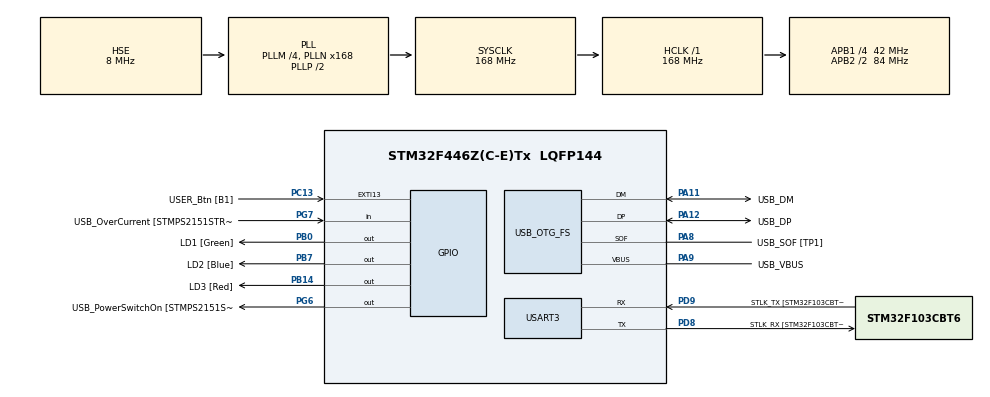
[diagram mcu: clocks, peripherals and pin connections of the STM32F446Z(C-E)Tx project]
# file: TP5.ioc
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FREERTOS.Events01=morseEvents,Dynamic,NULL
FREERTOS.Mutexes01=serialMut,Dynamic,NULL,Available;ledMut,Dynamic,NULL,Available
FREERTOS.Queues01=rxQueue,16,uint8_t,0,Dynamic,NULL,NULL;ledQueue,16,morseData,0,Dynamic,NULL,NULL;txQueue,16,uint32_t,0,Dynamic,NULL,NULL
FREERTOS.Tasks01=defaultTask,24,128,StartDefaultTask,Default,NULL,Dynamic,NULL,NULL;serialRXTask,8,128,serialRX,Default,NULL,Dynamic,NULL,NULL;asciiToMorseTas,8,128,asciiToMorse,Default,NULL,Dynamic,NULL,NULL;morseToLEDTask,8,128,morseToLED,Default,NULL,Dynamic,NULL,NULL;emptyRXTask,8,128,emptyRXsendTX,Default,NULL,Dynamic,NULL,NULL;serialTXTask,8,128,serialTX,Default,NULL,Dynamic,NULL,NULL
FREERTOS.configUSE_NEWLIB_REENTRANT=1
Mcu.Family=STM32F4
Mcu.Name=STM32F446Z(C-E)Tx
Mcu.Package=LQFP144
NVIC.OTG_FS_IRQn=true\:5\:0\:false\:false\:true\:true\:false\:true\:true
NVIC.PriorityGroup=NVIC_PRIORITYGROUP_4
NVIC.TIM1_UP_TIM10_IRQn=true\:15\:0\:false\:false\:true\:false\:false\:true\:true
NVIC.TimeBase=TIM1_UP_TIM10_IRQn
NVIC.TimeBaseIP=TIM1
PA10.GPIO_Label=USB_ID
PA10.Signal=USB_OTG_FS_ID
PA11.GPIO_Label=USB_DM
PA11.Mode=Device_Only
PA11.Signal=USB_OTG_FS_DM
PA12.GPIO_Label=USB_DP
PA12.Mode=Device_Only
PA12.Signal=USB_OTG_FS_DP
PA13.GPIO_Label=TMS
PA13.Mode=Serial_Wire
PA13.Signal=SYS_JTMS-SWDIO
PA14.GPIO_Label=TCK
PA14.Mode=Serial_Wire
PA14.Signal=SYS_JTCK-SWCLK
PA8.GPIO_Label=USB_SOF [TP1]
PA8.Mode=Activate_SOF_FS
PA8.Signal=USB_OTG_FS_SOF
PA9.GPIO_Label=USB_VBUS
PA9.Mode=Activate_VBUS
PA9.Signal=USB_OTG_FS_VBUS
PB0.GPIO_Label=LD1 [Green]
PB0.Signal=GPIO_Output
PB14.GPIO_Label=LD3 [Red]
PB14.Signal=GPIO_Output
PB7.GPIO_Label=LD2 [Blue]
PB7.Signal=GPIO_Output
PC13.GPIO_Label=USER_Btn [B1]
PC13.Signal=GPXTI13
PC14-OSC32_IN.Mode=LSE-External-Oscillator
PC14-OSC32_IN.Signal=RCC_OSC32_IN
PC15-OSC32_OUT.Mode=LSE-External-Oscillator
PC15-OSC32_OUT.Signal=RCC_OSC32_OUT
PD8.GPIO_Label=STLK_RX [STM32F103CBT6_PA3]
PD8.Mode=Asynchronous
PD8.Signal=USART3_TX
PD9.GPIO_Label=STLK_TX [STM32F103CBT6_PA2]
PD9.Mode=Asynchronous
PD9.Signal=USART3_RX
PG6.GPIO_Label=USB_PowerSwitchOn [STMPS2151STR_EN]
PG6.Signal=GPIO_Output
PG7.GPIO_Label=USB_OverCurrent [STMPS2151STR_FAULT]
PG7.Signal=GPIO_Input
PH0-OSC_IN.GPIO_Label=MCO [STM32F103CBT6_PA8]
PH0-OSC_IN.Mode=HSE-External-Clock-Source
PH0-OSC_IN.Signal=RCC_OSC_IN
PH1-OSC_OUT.Mode=HSE-External-Clock-Source
PH1-OSC_OUT.Signal=RCC_OSC_OUT
ProjectManager.HeapSize=0x200
ProjectManager.StackSize=0x400
ProjectManager.TargetToolchain=STM32CubeIDE
RCC.48MHZClocksFreq_Value=24000000
RCC.AHBFreq_Value=168000000
RCC.APB1CLKDivider=RCC_HCLK_DIV4
RCC.APB1Freq_Value=42000000
RCC.APB1TimFreq_Value=84000000
RCC.APB2CLKDivider=RCC_HCLK_DIV2
RCC.APB2Freq_Value=84000000
RCC.APB2TimFreq_Value=168000000
RCC.CortexFreq_Value=168000000
RCC.HCLKFreq_Value=168000000
RCC.HSE_VALUE=8000000
RCC.HSI_VALUE=16000000
RCC.PLLM=4
RCC.PLLMUL=RCC_PLL_MUL9
RCC.PLLN=168
RCC.PLLQ=7
RCC.PRESCALERUSB=RCC_USBCLKSOURCE_PLL_DIV1_5
RCC.SYSCLKFreq_VALUE=168000000
RCC.SYSCLKSource=RCC_SYSCLKSOURCE_PLLCLK
RCC.SYSCLKSourceVirtual=RCC_SYSCLKSOURCE_PLLCLK
RCC.USBFreq_Value=48000000
RCC.VCOOutputFreq_Value=336000000
USART3.VirtualMode=VM_ASYNC
USB_DEVICE.CLASS_NAME_FS=HID
USB_DEVICE.VirtualMode-HID_FS=Hid
USB_DEVICE.VirtualModeFS=Hid_FS
USB_OTG_FS.VirtualMode=Device_Only
VP_FREERTOS_VS_CMSIS_V2.Mode=CMSIS_V2
VP_SYS_VS_tim1.Mode=TIM1
VP_USB_DEVICE_VS_USB_DEVICE_HID_FS.Mode=HID_FS
board=NUCLEO-F446ZE

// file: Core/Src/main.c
/* USER CODE BEGIN Header */
/**
  ******************************************************************************
  * @file           : main.c
  * @brief          : Main program body
  ******************************************************************************
  * @attention
  *
  * Copyright (c) 2025 STMicroelectronics.
  * All rights reserved.
  *
  * This software is licensed under terms that can be found in the LICENSE file
  * in the root directory of this software component.
  * If no LICENSE file comes with this software, it is provided AS-IS.
  *
  ******************************************************************************
  */
/* USER CODE END Header */
#include "main.h"
#include "cmsis_os.h"
#include "usart.h"
#include "usb_device.h"
#include "gpio.h"

void SystemClock_Config(void);
void MX_FREERTOS_Init(void);

int main(void)
{

  /* MCU Configuration--------------------------------------------------------*/

  /* Reset of all peripherals, Initializes the Flash interface and the Systick. */
  HAL_Init();

  /* Configure the system clock */
  SystemClock_Config();

  /* Initialize all configured peripherals */
  MX_GPIO_Init();
  MX_USART3_UART_Init();

  /* Init scheduler */
  osKernelInitialize();

  /* Call init function for freertos objects (in cmsis_os2.c) */
  MX_FREERTOS_Init();

  /* Start scheduler */
  osKernelStart();

  /* We should never get here as control is now taken by the scheduler */

  /* Infinite loop */
  while (1)
  {

  }
}

void SystemClock_Config(void)
{
  RCC_OscInitTypeDef RCC_OscInitStruct = {0};
  RCC_ClkInitTypeDef RCC_ClkInitStruct = {0};

  /** Configure the main internal regulator output voltage
  */
  __HAL_RCC_PWR_CLK_ENABLE();
  __HAL_PWR_VOLTAGESCALING_CONFIG(PWR_REGULATOR_VOLTAGE_SCALE1);

  /** Initializes the RCC Oscillators according to the specified parameters
  * in the RCC_OscInitTypeDef structure.
  */
  RCC_OscInitStruct.OscillatorType = RCC_OSCILLATORTYPE_HSE;
  RCC_OscInitStruct.HSEState = RCC_HSE_BYPASS;
  RCC_OscInitStruct.PLL.PLLState = RCC_PLL_ON;
  RCC_OscInitStruct.PLL.PLLSource = RCC_PLLSOURCE_HSE;
  RCC_OscInitStruct.PLL.PLLM = 4;
  RCC_OscInitStruct.PLL.PLLN = 168;
  RCC_OscInitStruct.PLL.PLLP = RCC_PLLP_DIV2;
  RCC_OscInitStruct.PLL.PLLQ = 7;
  RCC_OscInitStruct.PLL.PLLR = 2;
  if (HAL_RCC_OscConfig(&RCC_OscInitStruct) != HAL_OK)
  {
    Error_Handler();
  }

  /** Initializes the CPU, AHB and APB buses clocks
  */
  RCC_ClkInitStruct.ClockType = RCC_CLOCKTYPE_HCLK|RCC_CLOCKTYPE_SYSCLK
                              |RCC_CLOCKTYPE_PCLK1|RCC_CLOCKTYPE_PCLK2;
  RCC_ClkInitStruct.SYSCLKSource = RCC_SYSCLKSOURCE_PLLCLK;
  RCC_ClkInitStruct.AHBCLKDivider = RCC_SYSCLK_DIV1;
  RCC_ClkInitStruct.APB1CLKDivider = RCC_HCLK_DIV4;
  RCC_ClkInitStruct.APB2CLKDivider = RCC_HCLK_DIV2;

  if (HAL_RCC_ClockConfig(&RCC_ClkInitStruct, FLASH_LATENCY_5) != HAL_OK)
  {
    Error_Handler();
  }
}

void HAL_TIM_PeriodElapsedCallback(TIM_HandleTypeDef *htim)
{
  if (htim->Instance == TIM1) {
    HAL_IncTick();
  }
}

void Error_Handler(void)
{
  __disable_irq();
  while (1)
  {
  }
}

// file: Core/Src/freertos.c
/* USER CODE BEGIN Header */
/**
  ******************************************************************************
  * File Name          : freertos.c
  * Description        : Code for freertos applications
  ******************************************************************************
  * @attention
  *
  * Copyright (c) 2025 STMicroelectronics.
  * All rights reserved.
  *
  * This software is licensed under terms that can be found in the LICENSE file
  * in the root directory of this software component.
  * If no LICENSE file comes with this software, it is provided AS-IS.
  *
  ******************************************************************************
  */
/* USER CODE END Header */

#include "FreeRTOS.h"
#include "task.h"
#include "main.h"
#include "cmsis_os.h"

/* USER CODE BEGIN Includes */
#include "usart.h"
#include <string.h>
/* USER CODE END Includes */

/* USER CODE BEGIN PTD */
typedef struct{
	uint8_t symbols;
	uint8_t n;
} morseData;
/* USER CODE END PTD */

/* USER CODE BEGIN PD */
#define FLAG_EMPTY	0x0001
#define FLAG_SENT	0x0002
const uint8_t timeUnit = 200;

const morseData morseLUT[128] = {
    ['a'] = {0b00000010, 2}, // .-
    ['b'] = {0b00000001, 4}, // -...
    ['c'] = {0b00000101, 4}, // -.-.
    ['d'] = {0b00000001, 3}, // -..
    ['e'] = {0b00000000, 1}, // .
    ['f'] = {0b00000100, 4}, // ..-.
    ['g'] = {0b00000011, 3}, // --.
    ['h'] = {0b00000000, 4}, // ....
    ['i'] = {0b00000000, 2}, // ..
    ['j'] = {0b00001110, 4}, // .---
    ['k'] = {0b00000101, 3}, // -.-
    ['l'] = {0b00000100, 4}, // .-..
    ['m'] = {0b00000011, 2}, // --
    ['n'] = {0b00000001, 2}, // -.
    ['o'] = {0b00000111, 3}, // ---
    ['p'] = {0b00000110, 4}, // .--.
    ['q'] = {0b00001011, 4}, // --.-
    ['r'] = {0b00000010, 3}, // .-.
    ['s'] = {0b00000000, 3}, // ...
    ['t'] = {0b00000001, 1}, // -
    ['u'] = {0b00000010, 3}, // ..-
    ['v'] = {0b00000010, 4}, // ...-
    ['w'] = {0b00000110, 3}, // .--
    ['x'] = {0b00000101, 4}, // -..-
    ['y'] = {0b00001001, 4}, // -.--
    ['z'] = {0b00000011, 4}, // --..

    ['0'] = {0b00011111, 5}, // -----
    ['1'] = {0b00011110, 5}, // .----
    ['2'] = {0b00001110, 5}, // ..---
    ['3'] = {0b00000110, 5}, // ...--
    ['4'] = {0b00000010, 5}, // ....-
    ['5'] = {0b00000000, 5}, // .....
    ['6'] = {0b00000001, 5}, // -....
    ['7'] = {0b00000011, 5}, // --...
    ['8'] = {0b00000111, 5}, // ---..
    ['9'] = {0b00001111, 5}  // ----.
};
/* USER CODE END PD */

/* Definitions for defaultTask */
osThreadId_t defaultTaskHandle;
const osThreadAttr_t defaultTask_attributes = {
  .name = "defaultTask",
  .stack_size = 128 * 4,
  .priority = (osPriority_t) osPriorityNormal,
};
/* Definitions for serialRXTask */
osThreadId_t serialRXTaskHandle;
const osThreadAttr_t serialRXTask_attributes = {
  .name = "serialRXTask",
  .stack_size = 128 * 4,
  .priority = (osPriority_t) osPriorityLow,
};
/* Definitions for asciiToMorseTas */
osThreadId_t asciiToMorseTasHandle;
const osThreadAttr_t asciiToMorseTas_attributes = {
  .name = "asciiToMorseTas",
  .stack_size = 128 * 4,
  .priority = (osPriority_t) osPriorityLow,
};
/* Definitions for morseToLEDTask */
osThreadId_t morseToLEDTaskHandle;
const osThreadAttr_t morseToLEDTask_attributes = {
  .name = "morseToLEDTask",
  .stack_size = 128 * 4,
  .priority = (osPriority_t) osPriorityLow,
};
/* Definitions for emptyRXTask */
osThreadId_t emptyRXTaskHandle;
const osThreadAttr_t emptyRXTask_attributes = {
  .name = "emptyRXTask",
  .stack_size = 128 * 4,
  .priority = (osPriority_t) osPriorityLow,
};
/* Definitions for serialTXTask */
osThreadId_t serialTXTaskHandle;
const osThreadAttr_t serialTXTask_attributes = {
  .name = "serialTXTask",
  .stack_size = 128 * 4,
  .priority = (osPriority_t) osPriorityLow,
};
/* Definitions for rxQueue */
osMessageQueueId_t rxQueueHandle;
const osMessageQueueAttr_t rxQueue_attributes = {
  .name = "rxQueue"
};
/* Definitions for ledQueue */
osMessageQueueId_t ledQueueHandle;
const osMessageQueueAttr_t ledQueue_attributes = {
  .name = "ledQueue"
};
/* Definitions for txQueue */
osMessageQueueId_t txQueueHandle;
const osMessageQueueAttr_t txQueue_attributes = {
  .name = "txQueue"
};
/* Definitions for serialMut */
osMutexId_t serialMutHandle;
const osMutexAttr_t serialMut_attributes = {
  .name = "serialMut"
};
/* Definitions for ledMut */
osMutexId_t ledMutHandle;
const osMutexAttr_t ledMut_attributes = {
  .name = "ledMut"
};
/* Definitions for morseEvents */
osEventFlagsId_t morseEventsHandle;
const osEventFlagsAttr_t morseEvents_attributes = {
  .name = "morseEvents"
};

void StartDefaultTask(void *argument);
void serialRX(void *argument);
void asciiToMorse(void *argument);
void morseToLED(void *argument);
void emptyRXsendTX(void *argument);
void serialTX(void *argument);

extern void MX_USB_DEVICE_Init(void);
void MX_FREERTOS_Init(void); /* (MISRA C 2004 rule 8.1) */

void MX_FREERTOS_Init(void) {
  /* Create the mutex(es) */
  /* creation of serialMut */
  serialMutHandle = osMutexNew(&serialMut_attributes);

  /* creation of ledMut */
  ledMutHandle = osMutexNew(&ledMut_attributes);

  /* Create the queue(s) */
  /* creation of rxQueue */
  rxQueueHandle = osMessageQueueNew (16, sizeof(uint8_t), &rxQueue_attributes);

  /* creation of ledQueue */
  ledQueueHandle = osMessageQueueNew (16, sizeof(morseData), &ledQueue_attributes);

  /* creation of txQueue */
  txQueueHandle = osMessageQueueNew (16, sizeof(uint32_t), &txQueue_attributes);

  /* Create the thread(s) */
  /* creation of defaultTask */
  defaultTaskHandle = osThreadNew(StartDefaultTask, NULL, &defaultTask_attributes);

  /* creation of serialRXTask */
  serialRXTaskHandle = osThreadNew(serialRX, NULL, &serialRXTask_attributes);

  /* creation of asciiToMorseTas */
  asciiToMorseTasHandle = osThreadNew(asciiToMorse, NULL, &asciiToMorseTas_attributes);

  /* creation of morseToLEDTask */
  morseToLEDTaskHandle = osThreadNew(morseToLED, NULL, &morseToLEDTask_attributes);

  /* creation of emptyRXTask */
  emptyRXTaskHandle = osThreadNew(emptyRXsendTX, NULL, &emptyRXTask_attributes);

  /* creation of serialTXTask */
  serialTXTaskHandle = osThreadNew(serialTX, NULL, &serialTXTask_attributes);

  /* creation of morseEvents */
  morseEventsHandle = osEventFlagsNew(&morseEvents_attributes);

}

void StartDefaultTask(void *argument)
{
  /* init code for USB_DEVICE */
  MX_USB_DEVICE_Init();
  for(;;)
  {
    osDelay(1);
  }
}

void serialRX(void *argument)
{
  /* USER CODE BEGIN serialRX */
  /* Infinite loop */
  for(;;)
  {
	  osMutexAcquire(serialMutHandle, osWaitForever);

	  uint8_t rxC;

	  if (HAL_UART_Receive(&huart3, &rxC, 1, osWaitForever) == HAL_OK) {
		  osMessageQueuePut(rxQueueHandle, &rxC, 0, osWaitForever);
	  } else {
		  osEventFlagsSet(morseEventsHandle, FLAG_EMPTY);
	  }

	  osMutexRelease(serialMutHandle);
  }
  /* USER CODE END serialRX */
}

void asciiToMorse(void *argument)
{
  /* USER CODE BEGIN asciiToMorse */
  /* Infinite loop */
  for(;;)
  {
	  uint8_t rxC;
	  osMessageQueueGet(rxQueueHandle, &rxC, 0, osWaitForever);

	  morseData data = morseLUT[rxC];

	  osMessageQueuePut(ledQueueHandle, &data, 0, osWaitForever);
  }
  /* USER CODE END asciiToMorse */
}

void morseToLED(void *argument)
{
  /* USER CODE BEGIN morseToLED */
  /* Infinite loop */
  for(;;)
  {
	  morseData data;
	  osMessageQueueGet(ledQueueHandle, &data, 0, osWaitForever);

	  osMutexAcquire(ledMutHandle, osWaitForever);

	  for (uint8_t i = 0; i<data.n; i++) {
		  if (data.symbols & (1<<i)) {
			  // dash
			  HAL_GPIO_WritePin(LD2_GPIO_Port, LD2_Pin, GPIO_PIN_SET);
			  osDelay(3*timeUnit); // 3* dash
			  HAL_GPIO_WritePin(LD2_GPIO_Port, LD2_Pin, GPIO_PIN_RESET);
		  } else {
			  // dott
			  HAL_GPIO_WritePin(LD2_GPIO_Port, LD2_Pin, GPIO_PIN_SET);
			  osDelay(timeUnit); // 1* dott
			  HAL_GPIO_WritePin(LD2_GPIO_Port, LD2_Pin, GPIO_PIN_RESET);
		  }

		  osDelay(timeUnit); // 1* between 2 symbols
	  }

	  osDelay(3*200); // 3* between letters

	  osMutexRelease(ledMutHandle);
	  osEventFlagsSet(morseEventsHandle, FLAG_SENT);
  }
  /* USER CODE END morseToLED */
}

void emptyRXsendTX(void *argument)
{
  /* USER CODE BEGIN emptyRXsendTX */
  /* Infinite loop */
  for(;;)
  {
	  // empty buffer 0001
	  // sent done 0010
	  // FlagsWait sensitive on 0011 => 0x1 and 0x2 !
	  // use #define and make something like that: FLAG_EMPTY | FLAG_DONE => or means 0x3
	  uint32_t flags = osEventFlagsWait(morseEventsHandle, FLAG_EMPTY|FLAG_SENT, osFlagsWaitAny, osWaitForever);

	  if(flags & FLAG_EMPTY) { // emptybuffer
		  char txt[] = "RX Buffer empty!\r\n";
		  osMutexAcquire(serialMutHandle, osWaitForever);

		  osMessageQueuePut(ledQueueHandle, &txt, 0, osWaitForever);

		  osMutexRelease(serialMutHandle);
	  }

	  if (flags & FLAG_SENT) { // sent done
		  char txt[] = "Sent done!\r\n";
		  osMutexAcquire(serialMutHandle, osWaitForever);

		  osMessageQueuePut(ledQueueHandle, &txt, 0, osWaitForever);

		  osMutexRelease(serialMutHandle);

	  }
  }
  /* USER CODE END emptyRXsendTX */
}

void serialTX(void *argument)
{
  /* USER CODE BEGIN serialTX */
  /* Infinite loop */
  for(;;)
  {
	  char* txt;
	  osMessageQueueGet(txQueueHandle, &txt, 0, osWaitForever);

	  osMutexAcquire(serialMutHandle, osWaitForever);
	  HAL_UART_Transmit(&huart3, (uint8_t *) txt, strlen(txt), 30);
	  osMutexRelease(serialMutHandle);
  }
  /* USER CODE END serialTX */
}
